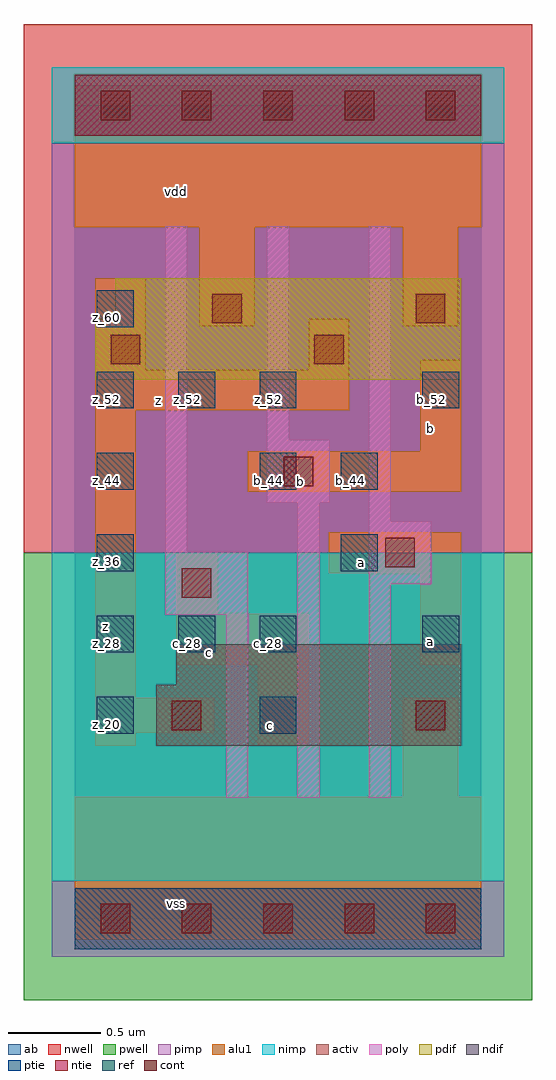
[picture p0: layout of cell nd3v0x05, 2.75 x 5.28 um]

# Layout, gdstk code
import gdstk
lib = gdstk.Library(unit=1e-6, precision=2.5e-09)
def R(c, l, rs):  # rectangles x0, y0, x1, y1
    for r in rs: c.add(gdstk.rectangle(r[:2], r[2:], *l))
def A(c, l, x, y, w, h, nx, ny, dx, dy):  # array of equal rectangles
    R(c, l, [(x+i*dx, y+j*dy, x+i*dx+w, y+j*dy+h) for i in range(nx) for j in range(ny)])
ndif = (3, 0)
pdif = (4, 0)
ntie = (5, 0)
ptie = (6, 0)
ref = (24, 0)
cont = (25, 0)
pwell = (41, 0)
nwell = (42, 0)
activ = (43, 0)
pimp = (44, 0)
nimp = (45, 0)
poly = (46, 0)
alu1 = (49, 0)
ab = (63, 0)

nd3v0x05 = lib.new_cell('nd3v0x05')
R(nd3v0x05, ndif, [(0.44,0.935,2.09,1.265), (0.55,1.265,2.09,1.485)])
R(nd3v0x05, pdif, [(0.11,2.915,2.09,3.245), (0.22,3.245,2.09,3.465)])
R(nd3v0x05, ntie, [(0,4.235,2.2,4.565)])
R(nd3v0x05, ptie, [(0,-0.165,2.2,0.165)])
A(nd3v0x05, ref, 0.12, 1.44, 0.2, 0.2, 3, 2, 0.44, 1.32)
R(nd3v0x05, ref, [(0.12,1,0.32,1.2), (1,1,1.2,1.2), (1.88,1.44,2.08,1.64), (0.12,1.88,0.32,2.08), (1.44,1.88,1.64,2.08), (0.12,2.32,0.32,2.52), (1,2.32,1.2,2.52), (1.44,2.32,1.64,2.52), (1.88,2.76,2.08,2.96), (0.12,3.2,0.32,3.4)])
A(nd3v0x05, cont, 0.14, -0.08, 0.16, 0.16, 5, 2, 0.44, 4.4)
R(nd3v0x05, cont, [(0.525,1.02,0.685,1.18), (1.845,1.02,2.005,1.18), (0.58,1.735,0.74,1.895), (1.68,1.9,1.84,2.06), (1.13,2.34,1.29,2.5), (0.195,3,0.355,3.16), (1.295,3,1.455,3.16), (0.745,3.22,0.905,3.38), (1.845,3.22,2.005,3.38)])
R(nd3v0x05, pwell, [(-0.275,-0.44,2.475,1.98)])
R(nd3v0x05, nwell, [(-0.275,1.98,2.475,4.84)])
R(nd3v0x05, activ, [(0,-0.165,2.2,0.165), (0.44,0.935,2.09,1.265), (0.55,1.265,2.09,1.485), (0.11,2.915,2.09,3.245), (0.22,3.245,2.09,3.465), (0,4.235,2.2,4.565)])
R(nd3v0x05, pimp, [(-0.125,-0.205,2.325,0.205), (-0.125,1.98,2.325,4.195)])
R(nd3v0x05, nimp, [(-0.125,0.205,2.325,1.98), (-0.125,4.195,2.325,4.605)])
R(nd3v0x05, poly, [(0.82,0.655,0.94,1.645), (1.205,0.655,1.325,2.25), (1.59,0.655,1.71,1.81), (0.49,1.645,0.94,1.985), (1.59,1.81,1.93,2.15), (0.49,1.985,0.61,3.745), (1.59,2.15,1.71,3.745), (1.04,2.25,1.38,2.59), (1.04,2.59,1.16,3.745)])
R(nd3v0x05, alu1, [(0,-0.11,2.2,0.66), (1.775,0.66,2.075,1.195), (0.11,0.935,0.33,1.005), (0.99,0.935,1.265,1.375), (0.11,1.005,0.755,1.195), (0.11,1.195,0.33,2.75), (0.55,1.375,1.265,1.65), (1.87,1.375,2.09,1.87), (0.55,1.65,0.77,1.98), (1.375,1.87,2.09,2.09), (0.935,2.31,2.09,2.53), (1.87,2.53,2.09,3.025), (0.11,2.75,1.485,2.97), (0.11,2.97,0.385,3.465), (1.265,2.97,1.485,3.245), (0.675,3.205,0.975,3.74), (1.775,3.205,2.075,3.74), (0,3.74,2.2,4.51)])
R(nd3v0x05, ab, [(0,0,2.2,4.4)])
nd3v0x05.add(gdstk.Label('vss', (0.55,0.0825), layer=49, texttype=0))
nd3v0x05.add(gdstk.Label('c', (1.0575,1.045), layer=49, texttype=0))
nd3v0x05.add(gdstk.Label('a', (1.925,1.4975), layer=49, texttype=0))
nd3v0x05.add(gdstk.Label('c', (0.7275,1.4425), layer=49, texttype=0))
nd3v0x05.add(gdstk.Label('a', (1.5525,1.925), layer=49, texttype=0))
nd3v0x05.add(gdstk.Label('b', (1.2225,2.365), layer=49, texttype=0))
nd3v0x05.add(gdstk.Label('b', (1.925,2.6525), layer=49, texttype=0))
nd3v0x05.add(gdstk.Label('z', (0.165,1.5825), layer=49, texttype=0))
nd3v0x05.add(gdstk.Label('z', (0.4525,2.805), layer=49, texttype=0))
nd3v0x05.add(gdstk.Label('vdd', (0.55,3.9325), layer=49, texttype=0))
nd3v0x05.add(gdstk.Label('z_60', (0.17,3.25), layer=24, texttype=0))
nd3v0x05.add(gdstk.Label('z_52', (0.17,2.81), layer=24, texttype=0))
nd3v0x05.add(gdstk.Label('z_44', (0.17,2.37), layer=24, texttype=0))
nd3v0x05.add(gdstk.Label('z_36', (0.17,1.93), layer=24, texttype=0))
nd3v0x05.add(gdstk.Label('z_28', (0.17,1.49), layer=24, texttype=0))
nd3v0x05.add(gdstk.Label('z_20', (0.17,1.05), layer=24, texttype=0))
nd3v0x05.add(gdstk.Label('b_52', (1.93,2.81), layer=24, texttype=0))
nd3v0x05.add(gdstk.Label('a_28', (1.93,1.49), layer=24, texttype=0))
nd3v0x05.add(gdstk.Label('b_44', (1.49,2.37), layer=24, texttype=0))
nd3v0x05.add(gdstk.Label('a_36', (1.49,1.93), layer=24, texttype=0))
nd3v0x05.add(gdstk.Label('z_52', (1.05,2.81), layer=24, texttype=0))
nd3v0x05.add(gdstk.Label('b_44', (1.05,2.37), layer=24, texttype=0))
nd3v0x05.add(gdstk.Label('c_28', (1.05,1.49), layer=24, texttype=0))
nd3v0x05.add(gdstk.Label('c_20', (1.05,1.05), layer=24, texttype=0))
nd3v0x05.add(gdstk.Label('z_52', (0.61,2.81), layer=24, texttype=0))
nd3v0x05.add(gdstk.Label('c_28', (0.61,1.49), layer=24, texttype=0))

lib.write_gds('nd3v0x05.gds')
